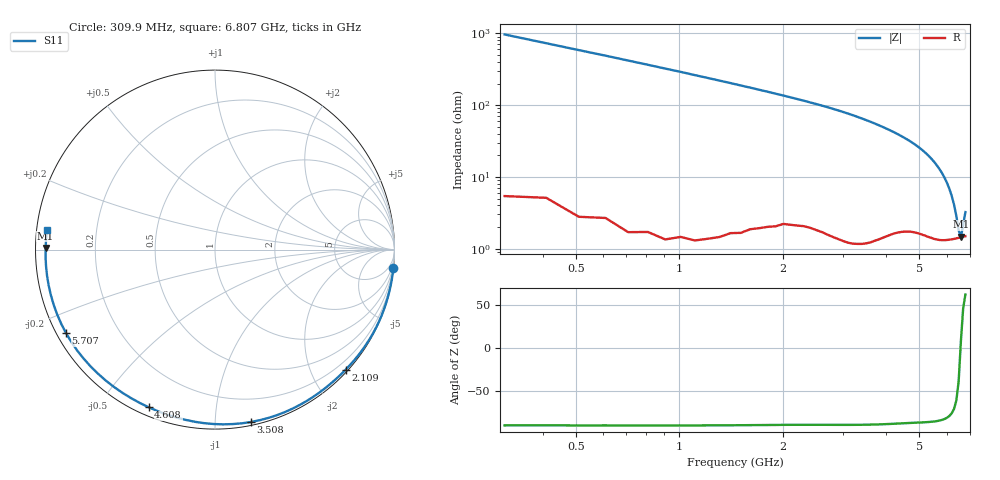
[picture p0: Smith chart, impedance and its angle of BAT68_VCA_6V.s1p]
! Infineon Technologies  Discrete & RF Semiconductors
! BAT68
! VCA = 6 V
! One-Port S-Parameters
# Hz  S  MA  R  50
!f  S11
!Hz  Mag  Ang
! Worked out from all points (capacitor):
!   66 points, 309.9 MHz to 6.807 GHz, reference 50 ohm
!   read as one part to ground: C = 532 fF near 309.9 MHz
!   lowest |Z| = 1.47 ohm at 6.607 GHz (marker M1)
!   series resonance near 6.589 GHz, so ESL is about 1.1 nH
!   S11 on the Smith chart (normalised r, x): 309.9 MHz: 0, -19; 2.109 GHz: 0.04, -2.56; 3.508 GHz: 0.02, -1.23; 4.608 GHz: 0.03, -0.66; 5.707 GHz: 0.03, -0.26; 6.807 GHz: 0.03, +0.06
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3.0985e8  0.9994 -5.9
8.096e8  0.9987 -15.6
1.2094e9  0.9977 -23.6
1.6092e9  0.9944 -31.9
2.009e9  0.9895 -40.4
2.10895e9  0.9887 -42.6
2.50875e9  0.9863 -51.6
2.8086e9  0.9861 -59.0
3.10845e9  0.9855 -66.8
3.30835e9  0.9839 -72.4
3.50825e9  0.9813 -78.2
3.6082e9  0.9795 -81.1
3.8081e9  0.9747 -87.3
4.008e9  0.969 -93.5
4.2079e9  0.9627 -99.8
4.4078e9  0.9573 -106.3
4.6077e9  0.953 -112.8
4.90755e9  0.95 -122.9
5.10745e9  0.9501 -129.7
5.2074e9  0.9502 -133.2
5.50725e9  0.9516 -143.8
5.70715e9  0.9516 -150.8
5.90705e9  0.9506 -157.8
6.007e9  0.9499 -161.1
6.10695e9  0.949 -164.5
6.30685e9  0.947 -171.1
6.6067e9  0.9437 179.5
6.8066e9  0.9422 173.4
